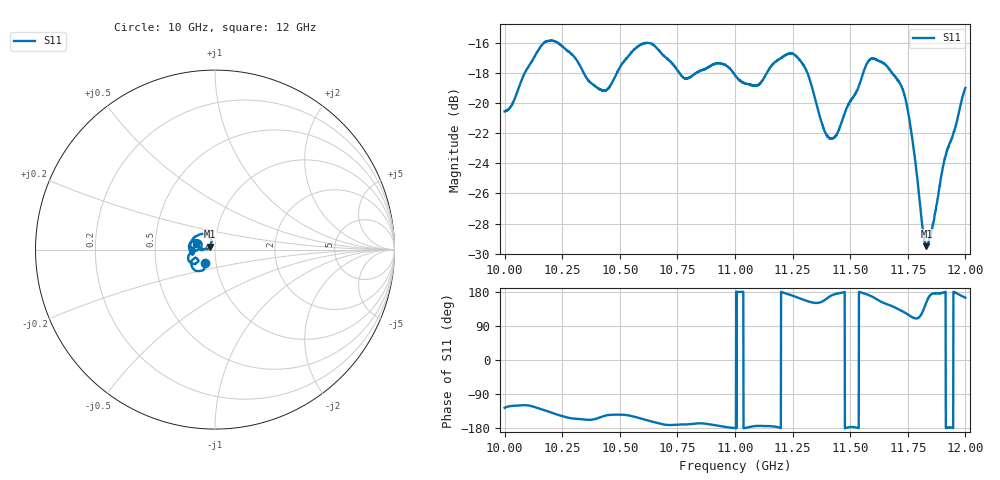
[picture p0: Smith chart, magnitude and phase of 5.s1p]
[Version] 2.0
! Rohde & Schwarz Vector Network Analyzer
! Rohde-Schwarz,ZNL20-2Port,1323001220200009,1.71.1.10-23.02.1.238
! Port Assignments:
! Nominal Port -> Actual Test Port
!  1 -> 1
! Created: GMT 2024-08-27 13:50:13
# Hz S DB R 50
[Number of Ports] 1
! freq[Hz]  S11[mag dB]  S11[ang]
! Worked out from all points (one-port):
!   2001 points, 10 GHz to 12 GHz, reference 50 ohm
!   lowest |S11| = -29.5 dB at 11.83 GHz (marker M1), VSWR 1.07, Z = 47.1 + j1.47 ohm
!   |S11| at or under -10 dB: start of sweep to end of sweep
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[Number of Frequencies] 28
[Network Data]
1e10  -20.54 -126.2
1.0164e10  -16.08 -130.6
1.025e10  -16.20 -148.1
1.0418e10  -19.08 -150.5
1.0451e10  -18.99 -145.1
1.05e10  -17.62 -144.1
1.062e10  -15.98 -159.2
1.075e10  -17.80 -170.6
1.0792e10  -18.33 -169.9
1.0933e10  -17.34 -174.0
1.1e10  -18.13 -179.8
1.1097e10  -18.81 -173.9
1.1171e10  -17.29 -175.3
1.125e10  -16.69 169.6
1.131e10  -17.85 156.3
1.1407e10  -22.30 165.9
1.1442e10  -22.07 175.1
1.15e10  -19.85 -177.0
1.1573e10  -17.35 173.0
1.1601e10  -17.04 165.5
1.1708e10  -18.49 134.4
1.175e10  -20.51 119.9
1.1781e10  -23.72 109.7
1.1816e10  -28.53 129.8
1.1831e10  -29.50 152.3
1.1857e10  -28.21 175.3
1.1911e10  -23.68 179.1
1.2e10  -18.98 164.3
[End]
